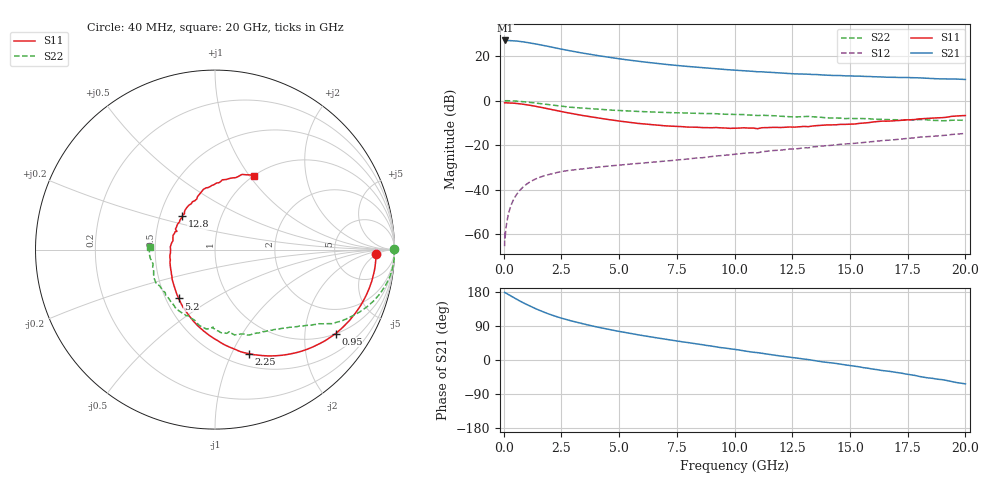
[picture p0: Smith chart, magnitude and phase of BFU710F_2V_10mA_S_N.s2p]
! Filename:  P:\Prog\Test\Noise\ATS_data\Testdata_Net\BFU710\BFU710_2W_A1_2V10mA_D.s2p
! Date/Time: Fri 29/Apr/2011 13:27:09
! BFU710_2W_A1_2V10mA
! bias mode 1: Vout= 2.0002 V, Iout= 9.9950 mA, Vin= 0.8342 V, Iin= 0.0390 mA
! Date/time Tue Mar 15 12:59:57 2011
! Device data file deembeded for feedlines and parallel
! Original file: \BFU710\BFU710_2W_A1_2V10mA_R.s2p
! Feed-files: PR003V01_101208_Feed1.s2p, PR003V01_101208_Feed2.s2p
! Parallel-file: PR003V01_101208_Par.s2p
# MHz S MA R 50
!  Freq-MHz  S11-mag  S11-arg  S21-mag  S21-arg  S12-mag  S12-arg  S22-mag  S22-arg
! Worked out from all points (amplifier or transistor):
!   167 points, 40 MHz to 20 GHz, reference 50 ohm
!   highest |S21| = 27.0 dB at 50 MHz (marker M1)
!   |S21| within 3 dB of that: start of sweep to 2.084 GHz
!   unconditionally stable (mu >= 1): 5.149 GHz to 15.79 GHz
!   at 550 MHz: K = 0.08, MSG = 34.5 dB, |S12| = -42.2 dB
!   at 4.2 GHz: K = 0.87, MSG = 24.9 dB, |S12| = -29.7 dB
!   at 20 GHz: K = 0.78, MSG = 12.1 dB, |S12| = -14.7 dB
!   lowest NFmin = 1.03 dB at 400 MHz
!   S11 on the Smith chart (normalised r, x): 40 MHz: 18, -4; 950 MHz: 1.01, -2.87; 2.25 GHz: 0.63, -1.16; 5.2 GHz: 0.58, -0.36; 12.8 GHz: 0.65, +0.26; 20 GHz: 1.01, +1.05
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40  0.8986 -1.4  22.42 178.4  0.0005434 87.8  0.9968 0.1
50  0.9012 -2.1  22.5 177.7  0.00116 75.2  0.9976 -0.3
70  0.8988 -2.5  22.3 177.6  0.0009426 88.1  0.9995 -0.7
240  0.8934 -9.0  22.42 171.6  0.003346 87.3  0.9977 -4.2
420  0.8819 -15.9  22.16 165.2  0.005912 83.9  0.9897 -7.6
650  0.8586 -24.3  21.54 157.3  0.009065 78.5  0.9716 -11.7
950  0.8187 -34.9  20.49 147.9  0.0129 72.3  0.9395 -16.5
1200  0.7785 -43.0  19.55 140.5  0.01567 67.8  0.9094 -20.1
1550  0.7202 -53.6  18.12 131.1  0.01901 62.5  0.8653 -24.4
1900  0.6628 -63.4  16.7 122.6  0.02172 58.2  0.8236 -28.1
2250  0.6089 -72.1  15.3 115.1  0.02405 55.0  0.7829 -31.4
2800  0.5321 -84.4  13.38 105.3  0.02712 50.2  0.7208 -35.0
3400  0.4672 -96.0  11.76 96.0  0.02948 47.6  0.6806 -38.2
4200  0.4002 -110.3  10.06 85.1  0.03274 45.5  0.635 -42.1
5200  0.3392 -126.7  8.452 73.1  0.03669 43.7  0.5944 -47.0
6800  0.2785 -150.5  6.723 56.8  0.04318 42.4  0.5504 -54.7
8800  0.2479 -178.2  5.418 38.3  0.0542 40.8  0.5141 -65.9
10200  0.2429 164.3  4.809 26.4  0.06409 38.1  0.489 -75.0
12800  0.2603 134.3  3.986 4.6  0.08453 30.3  0.4364 -92.5
13400  0.272 128.6  3.868 -1.0  0.09196 28.3  0.435 -100.0
16800  0.3508 94.9  3.356 -30.7  0.131 11.6  0.3744 -133.8
20000  0.4641 61.9  2.998 -63.0  0.1842 -10.8  0.36 177.5
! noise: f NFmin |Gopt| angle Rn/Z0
400  1.034  0.4566  3.2  0.3167
850  1.039  0.4505  7.67  0.3137
1500  1.048  0.4407  13.83  0.3082
2150  1.06  0.4294  19.73  0.3013
3100  1.082  0.41  28.09  0.2892
4300  1.119  0.3808  38.58  0.2712
6200  1.199  0.3277  56.18  0.2393
8800  1.348  0.2549  84.45  0.1958
1.14e+04  1.543  0.1898  119.6  0.1632
1.4e+04  1.785  0.1298  174.2  0.1528
